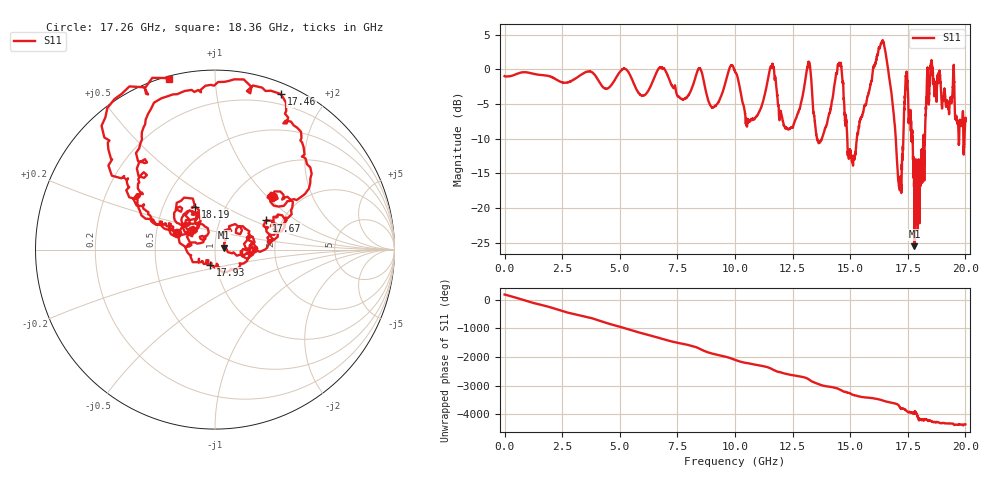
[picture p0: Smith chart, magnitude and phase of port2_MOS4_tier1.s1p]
! Created with skrf 1.8.0 (http://scikit-rf.org).
# GHz S RI R 50.0
!freq ReS11 ImS11
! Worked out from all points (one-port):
!   10001 points, 1 MHz to 20 GHz, reference 50 ohm
!   lowest |S11| = -25.5 dB at 17.79 GHz (marker M1), VSWR 1.11, Z = 55.4 + j1.27 ohm
!   |S11| at or under -10 dB: 14.87 GHz to 15.29 GHz (414.8 MHz wide, 2.75 % of centre); 16.98 GHz to 17.31 GHz (327.6 MHz wide, 1.91 % of centre); 17.71 GHz to 18.18 GHz (475.1 MHz wide, 2.65 % of centre) (the widest 3 of 10)
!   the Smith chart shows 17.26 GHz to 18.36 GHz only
!   S11 on the Smith chart (normalised r, x): 17.26 GHz: 0.64, +0.13; 17.46 GHz: 0.10, +1.51; 17.67 GHz: 1.66, +0.60; 17.93 GHz: 0.93, -0.16; 18.19 GHz: 0.72, +0.37; 18.36 GHz: 0.01, +0.77
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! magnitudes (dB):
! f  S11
! 1 MHz  -1.0
! 2.501 GHz  -1.9
! 5.001 GHz  -0.4
! 7.501 GHz  -3.8
! 8.465 GHz  0.2
! 9.083 GHz  -5.4
! 10 GHz  -0.3
! 10.56 GHz  -7.3
! 11.61 GHz  0.5
! 12 GHz  -6.3
! 12.5 GHz  -8.4
! 13.2 GHz  1.1
! 13.71 GHz  -10.4
! 14.54 GHz  0.6
! 15 GHz  -11.8
! 16.39 GHz  4.0
! 16.79 GHz  -3.3
! 17.13 GHz  -17.0
! 17.26 GHz  -12.8
! 17.46 GHz  -0.5
! 17.5 GHz  -2.9
! 17.67 GHz  -9.7
! 17.79 GHz  -25.5
! 17.93 GHz  -21.0
! 18.19 GHz  -11.6
! 18.36 GHz  -0.1
! 19.44 GHz  -4.0
! 20 GHz  -7.0
